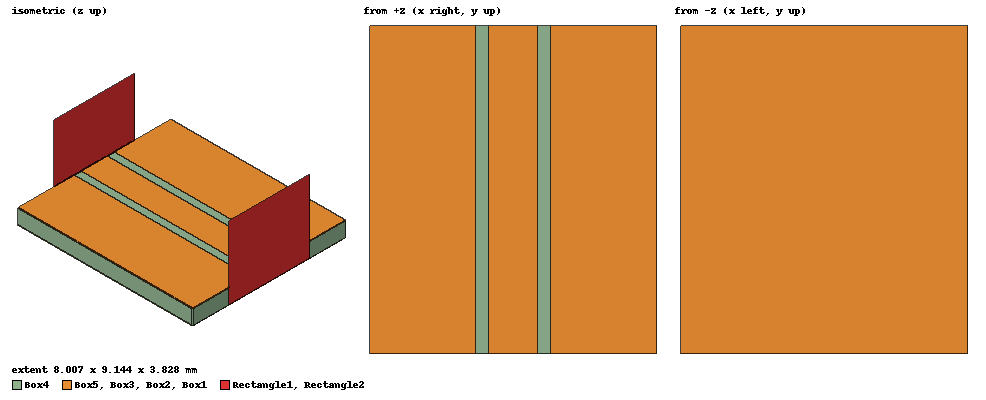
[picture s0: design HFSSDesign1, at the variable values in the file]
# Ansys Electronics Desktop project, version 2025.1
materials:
  vacuum: permittivity=1
  Rogers RO4350 (tm): permittivity=3.66 dielectric_loss_tangent=0.004
  copper: permeability=0.999991 conductivity=58000000

design HFSSDesign1 (HFSS, HFSS Terminal Network, model units mm)
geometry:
  Box1 [copper] = box(corner=((-1.3462/2) mm, 0mm, 0.762mm), size=(1.3462mm, 9.144mm, 0.0175mm))
  Box2 [copper] = box(corner=(1.0541mm, 0mm, 0.762mm), size=(2.9495mm, 9.144mm, 0.0175mm))
  Box3 [copper] = box(corner=(-1.0541mm, 0mm, 0.762mm), size=(-2.9495mm, 9.144mm, 0.0175mm))
  Box4 [Rogers RO4350 (tm)] = box(corner=(-4mm, 0mm, 0mm), size=(8mm, 9.144mm, 0.762mm))
  Box5 [copper] = box(corner=(-4mm, 0mm, 0mm), size=(8mm, 9.144mm, -0.0175mm))
  Rectangle1 = rectangle(corner=((-4.191/2) mm, 0mm, 0mm), z_size=3.81mm, x_size=4.191mm)
  Rectangle2 = rectangle(corner=((-4.191/2) mm, 9.144mm, 0mm), z_size=3.81mm, x_size=4.191mm)
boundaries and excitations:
  PerfE1: Perfect E Objects=[Box2, Box3, Box5]
  1: Wave Port Objects=Rectangle1 WavePortType=Modal NumModes=1 Modes{Mode1{CharImp=Zpi}}
  2: Wave Port Objects=Rectangle2 WavePortType=Modal NumModes=1 Modes{Mode1{CharImp=Zpi}}
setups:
  Setup1: HfssDriven MultipleAdaptiveFreqsSetup{Low=0GHz High=20GHz} MaxDeltaS=0.02 MaximumPasses=10 MinimumPasses=1 MinimumConvergedPasses=1 PercentRefinement=30 BasisOrder=1 PortAccuracy=2 DrivenSolverType="Direct Solver"
    sweep Sweep: 0GHz to 20GHz, 401 points; Type=Interpolating InterpTolerance=0.5 InterpMaxSolns=250 MinSolvedFreq=0.01GHz PassivityErrorTolerance=0.0001
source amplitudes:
  1:1: 1V 0deg
  2:1: 0V 0deg
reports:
  Port Zo Plot1: re(Zo(1)), re(Zo(2)) vs Freq on Setup1 : Sweep
  S Parameter Plot1: dB(S(1,1)), dB(S(2,1)), dB(S(1,2)), dB(S(2,2)) vs Freq on Setup1 : Sweep
